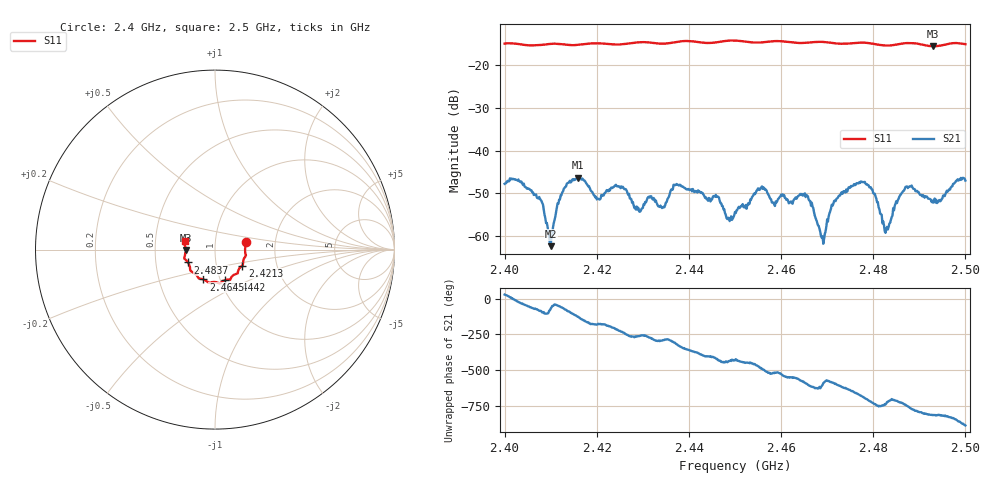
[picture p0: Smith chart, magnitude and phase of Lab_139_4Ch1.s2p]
# Hz S RI R 50
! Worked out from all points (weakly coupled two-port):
!   601 points, 2.4 GHz to 2.5 GHz, reference 50 ohm
!   highest |S21| = -46.32 dB at 2.416 GHz (marker M1); lowest = -62.3 dB at 2.41 GHz (marker M2)
!   lowest |S11| = -15.7 dB at 2.493 GHz (marker M3), VSWR 1.39, Z = 36 - j0.217 ohm
!   |S11| at or under -10 dB: start of sweep to end of sweep
!   S12 and S22 are empty: the file has one direction only
!   S11 on the Smith chart (normalised r, x): 2.4 GHz: 1.41, +0.12; 2.4213 GHz: 1.33, -0.25; 2.4442 GHz: 1.05, -0.37; 2.4645 GHz: 0.83, -0.29; 2.4837 GHz: 0.73, -0.11; 2.5 GHz: 0.71, +0.07
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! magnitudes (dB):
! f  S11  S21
! 2.4 GHz  -15.1  -47.8
! 2.4077 GHz  -15.4  -51.2
! 2.41 GHz  -15.2  -62.3
! 2.4127 GHz  -15.3  -49.6
! 2.416 GHz  -15.4  -46.3
! 2.4167 GHz  -15.3  -46.8
! 2.4213 GHz  -15.1  -50.3
! 2.4333 GHz  -15.1  -53.0
! 2.4372 GHz  -14.7  -48.0
! 2.4442 GHz  -15.0  -51.7
! 2.45 GHz  -14.4  -54.3
! 2.4553 GHz  -14.9  -49.2
! 2.4645 GHz  -15.0  -50.1
! 2.4667 GHz  -14.8  -52.2
! 2.4692 GHz  -14.7  -61.7
! 2.472 GHz  -15.1  -51.3
! 2.4778 GHz  -14.9  -47.4
! 2.4833 GHz  -15.6  -57.8
! 2.4837 GHz  -15.5  -56.8
! 2.4873 GHz  -15.0  -48.4
! 2.493 GHz  -15.7  -52.1
! 2.5 GHz  -15.2  -47.0
